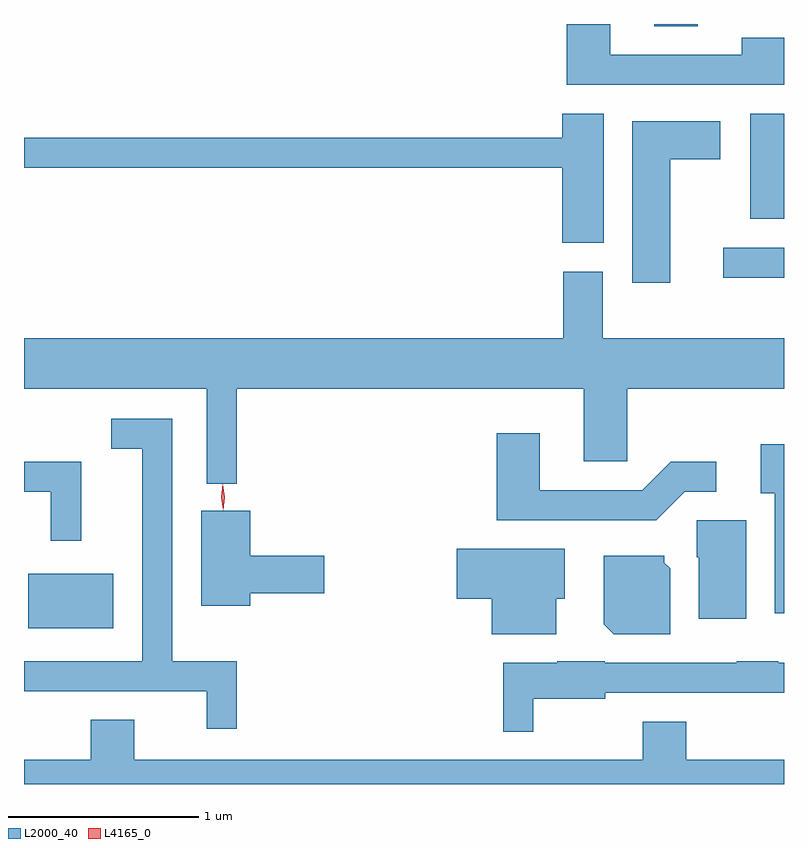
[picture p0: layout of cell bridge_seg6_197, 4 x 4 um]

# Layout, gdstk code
import gdstk
lib = gdstk.Library(unit=1e-6, precision=1e-09)
def R(c, l, rs):  # rectangles x0, y0, x1, y1
    for r in rs: c.add(gdstk.rectangle(r[:2], r[2:], *l))
def P(c, l, *ps):  # polygons
    for p in ps: c.add(gdstk.Polygon(p, *l))
L2000_40 = (2000, 40)
L4165_0 = (4165, 0)

bridge_seg6_197 = lib.new_cell('bridge_seg6_197')
R(bridge_seg6_197, L2000_40, [(1021.676,1597.616,1022.124,1597.904), (1025.333,1599.461,1025.654,1599.619), (1025.476,1599.771,1025.654,1600.324), (1024.971,1600.786,1025.199,1600.797)])
P(bridge_seg6_197, L2000_40, [(1025.654,1600.724),(1025.431,1600.724),(1025.431,1600.634),(1024.739,1600.634),(1024.739,1600.797),(1024.511,1600.797),(1024.511,1600.476),(1025.654,1600.476)],
  [(1024.704,1600.324),(1024.486,1600.324),(1024.486,1600.199),(1021.654,1600.199),(1021.654,1600.041),(1024.486,1600.041),(1024.486,1599.646),(1024.704,1599.646)],
  [(1025.054,1600.086),(1025.319,1600.086),(1025.319,1600.284),(1024.856,1600.284),(1024.856,1599.436),(1025.054,1599.436)],
  [(1022.774,1598.876),(1024.601,1598.876),(1024.601,1598.496),(1024.829,1598.496),(1024.829,1598.876),(1025.654,1598.876),(1025.654,1599.144),(1024.699,1599.144),(1024.699,1599.494),(1024.491,1599.494),(1024.491,1599.144),(1021.654,1599.144),(1021.654,1598.876),(1022.616,1598.876),(1022.616,1598.378),(1022.774,1598.378)],
  [(1022.774,1597.444),(1022.434,1597.444),(1022.434,1598.719),(1022.113,1598.719),(1022.113,1598.561),(1022.276,1598.561),(1022.276,1597.444),(1021.654,1597.444),(1021.654,1597.286),(1022.616,1597.286),(1022.616,1597.088),(1022.774,1597.088)],
  [(1025.132,1598.336),(1025.298,1598.336),(1025.298,1598.494),(1025.059,1598.494),(1024.909,1598.344),(1024.369,1598.344),(1024.369,1598.644),(1024.141,1598.644),(1024.141,1598.186),(1024.982,1598.186)],
  [(1025.654,1598.584),(1025.531,1598.584),(1025.531,1598.326),(1025.606,1598.326),(1025.606,1597.696),(1025.654,1597.696)],
  [(1021.954,1598.494),(1021.654,1598.494),(1021.654,1598.336),(1021.796,1598.336),(1021.796,1598.078),(1021.954,1598.078)],
  [(1022.844,1597.801),(1023.234,1597.801),(1023.234,1597.999),(1022.844,1597.999),(1022.844,1598.234),(1022.586,1598.234),(1022.586,1597.736),(1022.844,1597.736)],
  [(1025.454,1598.184),(1025.196,1598.184),(1025.196,1597.99),(1025.206,1597.99),(1025.206,1597.666),(1025.454,1597.666)],
  [(1024.454,1597.771),(1024.499,1597.771),(1024.499,1598.034),(1023.931,1598.034),(1023.931,1597.771),(1024.116,1597.771),(1024.116,1597.586),(1024.454,1597.586)],
  [(1025.054,1597.932),(1025.024,1597.962),(1025.024,1597.999),(1024.706,1597.999),(1024.706,1597.637),(1024.757,1597.586),(1025.054,1597.586)],
  [(1024.334,1597.246),(1024.714,1597.246),(1024.714,1597.276),(1025.654,1597.276),(1025.654,1597.434),(1025.625,1597.434),(1025.625,1597.444),(1025.405,1597.444),(1025.405,1597.434),(1024.71,1597.434),(1024.71,1597.444),(1024.46,1597.444),(1024.46,1597.434),(1024.176,1597.434),(1024.176,1597.073),(1024.334,1597.073)],
  [(1025.654,1596.924),(1025.139,1596.924),(1025.139,1597.124),(1024.911,1597.124),(1024.911,1596.924),(1022.234,1596.924),(1022.234,1597.134),(1022.006,1597.134),(1022.006,1596.924),(1021.654,1596.924),(1021.654,1596.797),(1025.654,1596.797)])
P(bridge_seg6_197, L4165_0, [(1022.702,1598.238),(1022.702,1598.238),(1022.691,1598.306),(1022.699,1598.375),(1022.7,1598.375),(1022.7,1598.375),(1022.711,1598.307),(1022.703,1598.238)],
  [(1022.702,1598.24),(1022.702,1598.241),(1022.691,1598.306),(1022.699,1598.371),(1022.7,1598.372),(1022.7,1598.371),(1022.711,1598.306),(1022.703,1598.241)])

lib.write_gds('bridge_seg6_197.gds')
